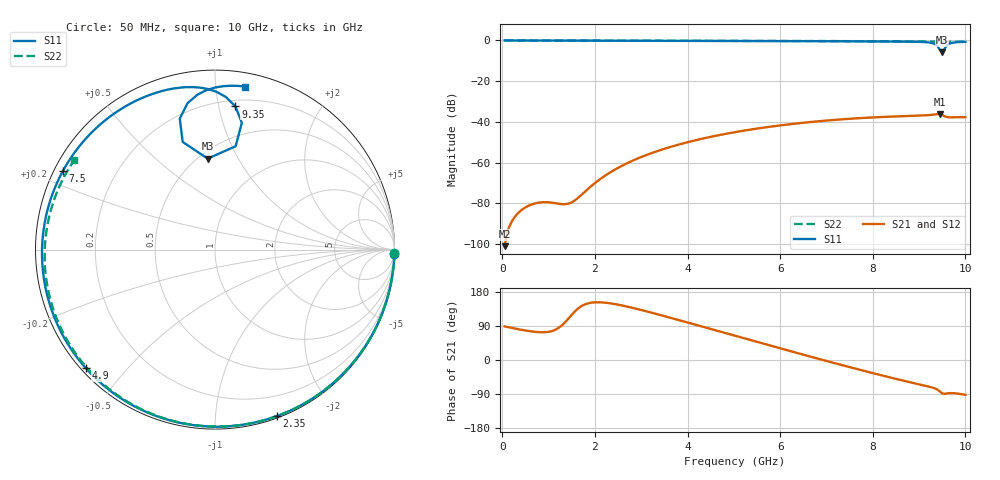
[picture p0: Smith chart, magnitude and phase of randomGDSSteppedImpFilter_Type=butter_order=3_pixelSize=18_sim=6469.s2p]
! freq	dB(S11)	phase(S11)	dB(S12)	phase(S12)
!  dB(S21)	phase(S21)	dB(S22)	phase(S22)
!S-par simulation data
#  GHz  S  DB  R 50
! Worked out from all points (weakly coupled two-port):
!   200 points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, 50 MHz to 10 GHz, reference 50 ohm
!   highest |S21| = -36.06 dB at 9.45 GHz (marker M1); lowest = -100.9 dB at 50 MHz (marker M2)
!   lowest |S11| = -5.9 dB at 9.5 GHz (marker M3), VSWR 3.07, Z = 27.7 + j37.8 ohm
!   |S11| at or under -10 dB: nowhere
!   |S22| runs from -0.6 to 0.0 dB; largest |S21 - S12| = 0
!   S11 on the Smith chart (normalised r, x): 50 MHz: 0, -74; 2.35 GHz: 0.02, -1.44; 4.9 GHz: 0.01, -0.39; 7.5 GHz: 0.03, +0.24; 9.35 GHz: 0.25, +1.12; 10 GHz: 0.10, +1.20
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0.05  -0.00 -1.5  -100.94 88.7  -100.94 88.7  -0.00 -1.2
0.7  -0.03 -21.3  -80.02 74.4  -80.02 74.4  -0.02 -16.6
1.45  -0.06 -43.7  -79.90 112.2  -79.90 112.2  -0.04 -34.0
1.75  -0.07 -52.4  -74.92 144.9  -74.92 144.9  -0.05 -40.8
2.35  -0.09 -69.6  -64.46 149.3  -64.46 149.3  -0.07 -54.3
3.4  -0.13 -98.3  -53.89 119.1  -53.89 119.1  -0.10 -77.0
4.1  -0.16 -116.7  -49.37 95.5  -49.37 95.5  -0.13 -91.5
4.9  -0.20 -137.4  -45.50 68.1  -45.50 68.1  -0.16 -107.5
5.05  -0.21 -141.3  -44.89 63.0  -44.89 63.0  -0.17 -110.5
5.9  -0.27 -163.3  -41.98 34.1  -41.98 34.1  -0.22 -127.1
6.7  -0.34 175.2  -39.92 7.3  -39.92 7.3  -0.28 -142.6
7.5  -0.41 152.6  -38.43 -18.8  -38.43 -18.8  -0.34 -158.3
8.35  -0.51 126.2  -37.41 -45.3  -37.41 -45.3  -0.43 -175.5
9.05  -0.73 100.1  -36.84 -65.6  -36.84 -65.6  -0.51 169.6
9.25  -1.12 89.4  -36.55 -71.5  -36.55 -71.5  -0.54 165.1
9.35  -1.88 81.9  -36.27 -75.4  -36.27 -75.4  -0.55 162.9
9.45  -4.63 78.7  -36.06 -83.0  -36.06 -83.0  -0.57 160.6
9.5  -5.88 94.6  -36.48 -87.9  -36.48 -87.9  -0.57 159.4
9.55  -4.06 106.7  -37.19 -89.4  -37.19 -89.4  -0.58 158.3
9.6  -2.43 105.1  -37.59 -88.4  -37.59 -88.4  -0.59 157.1
9.75  -1.00 92.9  -37.70 -87.6  -37.70 -87.6  -0.60 153.6
10  -0.69 79.6  -37.62 -91.7  -37.62 -91.7  -0.64 147.6
